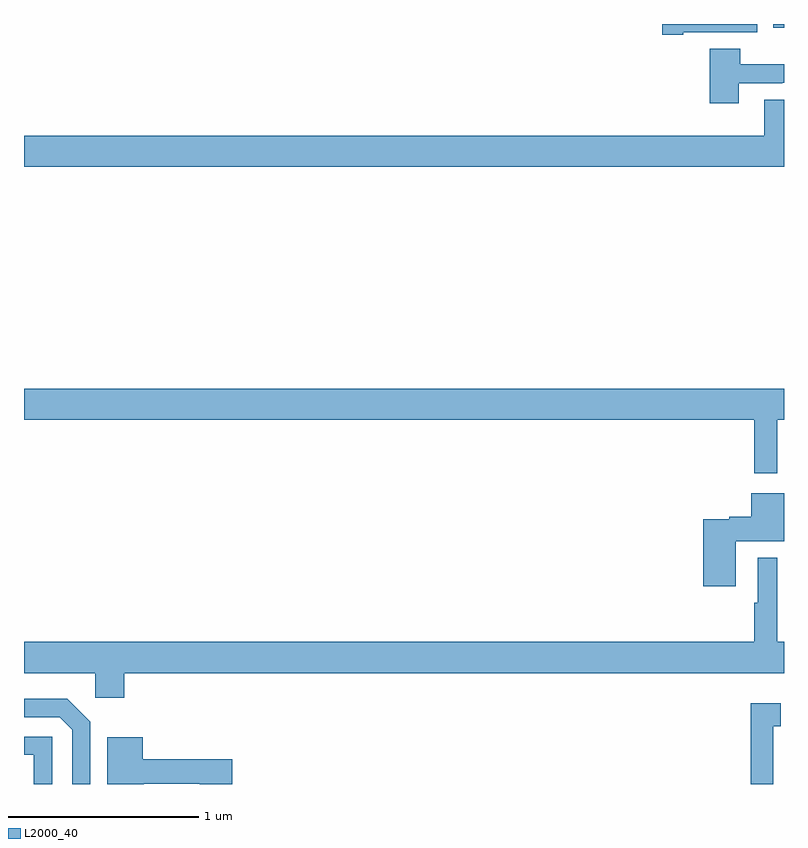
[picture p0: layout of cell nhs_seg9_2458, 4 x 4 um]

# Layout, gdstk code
import gdstk
lib = gdstk.Library(unit=1e-6, precision=1e-09)
def R(c, l, rs):  # rectangles x0, y0, x1, y1
    for r in rs: c.add(gdstk.rectangle(r[:2], r[2:], *l))
def P(c, l, *ps):  # polygons
    for p in ps: c.add(gdstk.Polygon(p, *l))
L2000_40 = (2000, 40)

nhs_seg9_2458 = lib.new_cell('nhs_seg9_2458')
R(nhs_seg9_2458, L2000_40, [(254.943,1202.48,255,1202.5)])
P(nhs_seg9_2458, L2000_40, [(254.47,1202.456),(254.858,1202.456),(254.858,1202.5),(254.358,1202.5),(254.358,1202.444),(254.47,1202.444)],
  [(254.761,1202.187),(254.99,1202.187),(254.99,1202.19),(255,1202.19),(255,1202.287),(254.769,1202.287),(254.769,1202.371),(254.609,1202.371),(254.609,1202.082),(254.761,1202.082)],
  [(255,1202.102),(254.897,1202.102),(254.897,1201.912),(251,1201.912),(251,1201.748),(255,1201.748)],
  [(254.965,1200.416),(255,1200.416),(255,1200.58),(251,1200.58),(251,1200.416),(254.844,1200.416),(254.844,1200.135),(254.965,1200.135)],
  [(254.746,1199.777),(255,1199.777),(255,1200.031),(254.828,1200.031),(254.828,1199.906),(254.712,1199.906),(254.712,1199.893),(254.576,1199.893),(254.576,1199.541),(254.746,1199.541)],
  [(251.528,1199.084),(255,1199.084),(255,1199.248),(254.965,1199.248),(254.965,1199.692),(254.861,1199.692),(254.861,1199.453),(254.844,1199.453),(254.844,1199.248),(251,1199.248),(251,1199.084),(251.376,1199.084),(251.376,1198.953),(251.528,1198.953)],
  [(251.349,1198.827),(251.228,1198.948),(251,1198.948),(251,1198.851),(251.187,1198.851),(251.253,1198.785),(251.253,1198.5),(251.349,1198.5)],
  [(254.944,1198.803),(254.983,1198.803),(254.983,1198.924),(254.826,1198.924),(254.826,1198.5),(254.944,1198.5)],
  [(251.148,1198.749),(251,1198.749),(251,1198.653),(251.052,1198.653),(251.052,1198.5),(251.148,1198.5)],
  [(251.63,1198.501),(251.924,1198.501),(251.924,1198.5),(252.095,1198.5),(252.095,1198.63),(251.626,1198.63),(251.626,1198.747),(251.438,1198.747),(251.438,1198.5),(251.63,1198.5)])

lib.write_gds('nhs_seg9_2458.gds')
